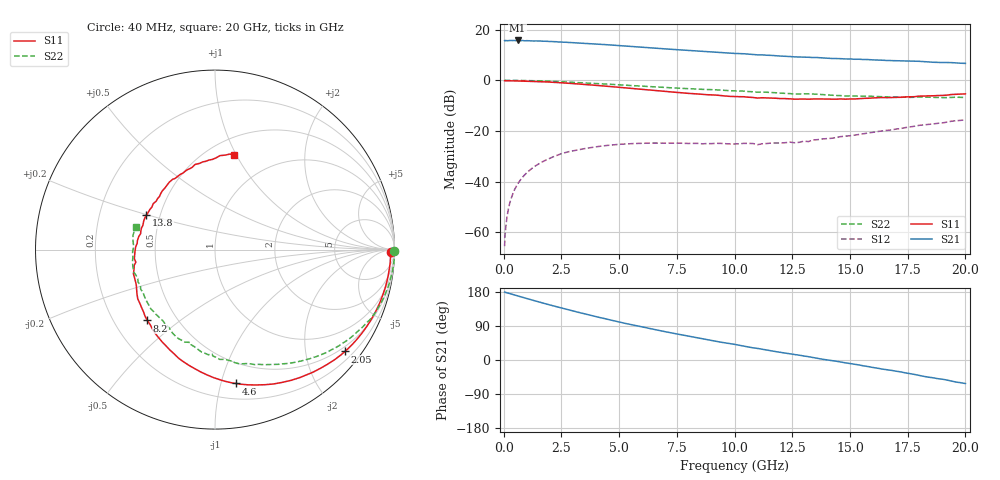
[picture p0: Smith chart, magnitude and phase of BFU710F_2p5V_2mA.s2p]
! Filename:  P:\Prog\Test\Noise\ATS_data\Testdata_Net\BFU710\BFU710_2W_A1_2.5V2mA_D.s2p
! Date/Time: Fri 29/Apr/2011 13:26:25
! BFU710_2W_A1_2.5V2mA
! bias mode 1: Vout= 2.5000 V, Iout= 2.0100 mA, Vin= 0.7978 V, Iin= 0.0059 mA
! Date/time Wed Mar 16 12:30:32 2011
! Device data file deembeded for feedlines and parallel
! Original file: \BFU710\BFU710_2W_A1_2.5V2mA_R.s2p
! Feed-files: PR003V01_101208_Feed1.s2p, PR003V01_101208_Feed2.s2p
! Parallel-file: PR003V01_101208_Par.s2p
# MHz S MA R 50
!  Freq-MHz  S11-mag  S11-arg  S21-mag  S21-arg  S12-mag  S12-arg  S22-mag  S22-arg
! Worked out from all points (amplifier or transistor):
!   167 points, 40 MHz to 20 GHz, reference 50 ohm
!   highest |S21| = 15.7 dB at 600 MHz (marker M1)
!   |S21| within 3 dB of that: start of sweep to 6.488 GHz
!   unconditionally stable (mu >= 1): 8.586 GHz to 17.69 GHz
!   at 550 MHz: K = 0.00, MSG = 28.8 dB, |S12| = -41.8 dB
!   at 4.2 GHz: K = 0.36, MSG = 20.1 dB, |S12| = -26.0 dB
!   at 20 GHz: K = 0.80, MSG = 11.1 dB, |S12| = -15.6 dB
!   S11 on the Smith chart (normalised r, x): 40 MHz: 68, -42; 2.05 GHz: 0.39, -2.85; 4.6 GHz: 0.32, -1.12; 8.2 GHz: 0.34, -0.38; 13.8 GHz: 0.42, +0.20; 20 GHz: 0.66, +0.98
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40  0.979 -0.8  6.092 179.2  0.0005294 75.0  0.999 -0.4
60  0.9794 -0.9  6.038 178.5  0.0009508 88.3  0.9993 -0.5
200  0.9787 -3.7  6.081 176.5  0.002822 88.8  0.9993 -2.0
600  0.9729 -11.3  6.128 169.3  0.008866 84.7  0.9966 -6.3
1400  0.9492 -26.2  6.001 155.4  0.02071 73.4  0.9799 -14.8
2050  0.9196 -38.1  5.835 144.4  0.02952 65.3  0.9596 -21.5
2700  0.88 -49.6  5.646 134.0  0.03779 56.5  0.9281 -27.8
3400  0.8355 -61.5  5.409 123.3  0.04385 48.3  0.8949 -34.2
4000  0.7948 -71.5  5.221 114.5  0.04866 42.3  0.8652 -39.3
4600  0.7549 -81.1  5.001 105.9  0.05233 36.5  0.8349 -44.3
5600  0.6862 -96.6  4.649 92.2  0.05627 27.7  0.7849 -52.2
6800  0.6131 -114.2  4.239 77.2  0.05761 19.4  0.7313 -60.9
8200  0.5462 -133.7  3.845 60.8  0.05683 14.4  0.6784 -70.8
9400  0.499 -150.6  3.55 47.1  0.05672 11.8  0.6396 -80.1
10200  0.4754 -160.6  3.38 39.1  0.05571 12.7  0.6136 -85.6
11600  0.4454 -179.2  3.106 24.2  0.05767 15.2  0.576 -97.4
13400  0.4275 158.5  2.822 6.5  0.0664 20.3  0.5357 -112.5
13800  0.4279 153.5  2.769 2.1  0.06943 20.2  0.5224 -116.8
15400  0.4349 134.0  2.608 -13.1  0.08556 20.4  0.4882 -132.1
16800  0.4575 117.2  2.452 -27.4  0.1048 15.9  0.4672 -148.7
18200  0.4879 100.2  2.346 -43.2  0.1317 7.7  0.467 -168.6
20000  0.5396 78.5  2.159 -62.1  0.166 -4.7  0.4582 163.9
